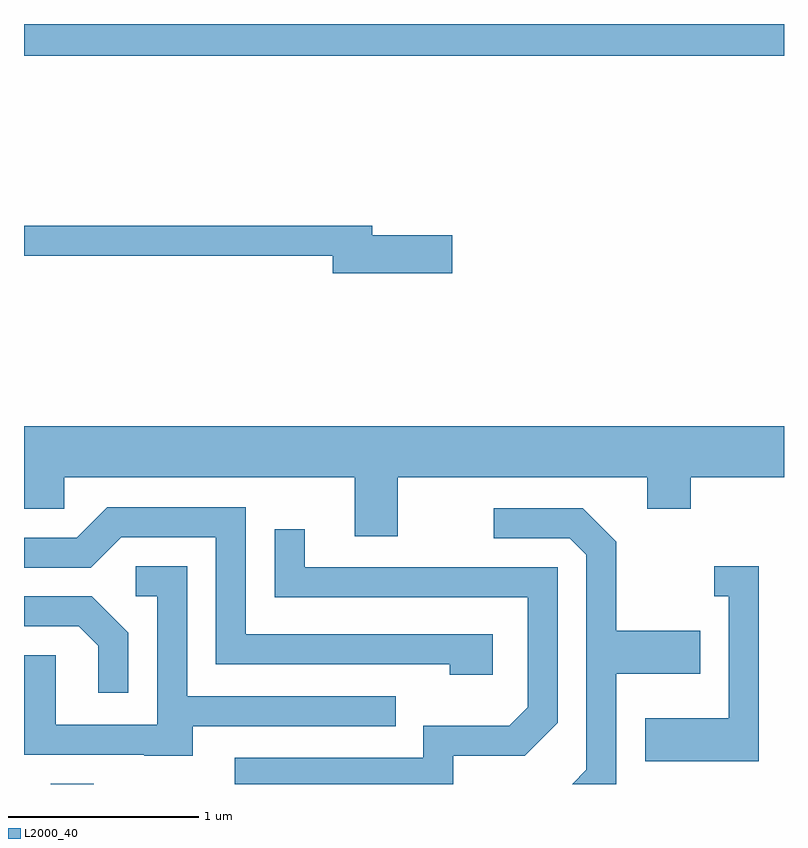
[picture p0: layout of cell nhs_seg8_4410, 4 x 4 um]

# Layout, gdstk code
import gdstk
lib = gdstk.Library(unit=1e-6, precision=1e-09)
def R(c, l, rs):  # rectangles x0, y0, x1, y1
    for r in rs: c.add(gdstk.rectangle(r[:2], r[2:], *l))
def P(c, l, *ps):  # polygons
    for p in ps: c.add(gdstk.Polygon(p, *l))
L2000_40 = (2000, 40)

nhs_seg8_4410 = lib.new_cell('nhs_seg8_4410')
R(nhs_seg8_4410, L2000_40, [(317.751,1850.342,317.979,1850.344), (317.611,1854.176,321.611,1854.342)])
P(nhs_seg8_4410, L2000_40, [(319.864,1853.229),(319.444,1853.229),(319.444,1853.279),(317.611,1853.279),(317.611,1853.121),(319.236,1853.121),(319.236,1853.031),(319.864,1853.031)],
  [(319.579,1851.956),(320.891,1851.956),(320.891,1851.791),(321.119,1851.791),(321.119,1851.956),(321.611,1851.956),(321.611,1852.224),(317.611,1852.224),(317.611,1851.791),(317.824,1851.791),(317.824,1851.956),(319.351,1851.956),(319.351,1851.646),(319.579,1851.646)],
  [(320.079,1851.129),(318.779,1851.129),(318.779,1851.799),(318.049,1851.799),(317.889,1851.639),(317.611,1851.639),(317.611,1851.481),(317.962,1851.481),(318.122,1851.641),(318.621,1851.641),(318.621,1850.971),(319.851,1850.971),(319.851,1850.916),(320.079,1850.916)],
  [(320.729,1850.921),(321.169,1850.921),(321.169,1851.149),(320.729,1851.149),(320.729,1851.617),(320.552,1851.794),(320.083,1851.794),(320.083,1851.636),(320.484,1851.636),(320.571,1851.549),(320.571,1850.417),(320.497,1850.342),(320.729,1850.342)],
  [(319.869,1850.491),(320.247,1850.491),(320.419,1850.664),(320.419,1851.484),(319.089,1851.484),(319.089,1851.683),(318.931,1851.683),(318.931,1851.326),(320.261,1851.326),(320.261,1850.747),(320.164,1850.649),(319.711,1850.649),(319.711,1850.479),(318.721,1850.479),(318.721,1850.342),(319.869,1850.342)],
  [(321.479,1851.489),(321.243,1851.489),(321.243,1851.331),(321.321,1851.331),(321.321,1850.689),(320.881,1850.689),(320.881,1850.461),(321.479,1850.461)],
  [(318.499,1850.646),(319.568,1850.646),(319.568,1850.804),(318.469,1850.804),(318.469,1851.489),(318.198,1851.489),(318.198,1851.331),(318.311,1851.331),(318.311,1850.654),(317.779,1850.654),(317.779,1851.019),(317.611,1851.019),(317.611,1850.496),(318.245,1850.496),(318.245,1850.491),(318.499,1850.491)],
  [(318.159,1851.137),(317.967,1851.329),(317.611,1851.329),(317.611,1851.171),(317.899,1851.171),(318.001,1851.069),(318.001,1850.823),(318.159,1850.823)])

lib.write_gds('nhs_seg8_4410.gds')
